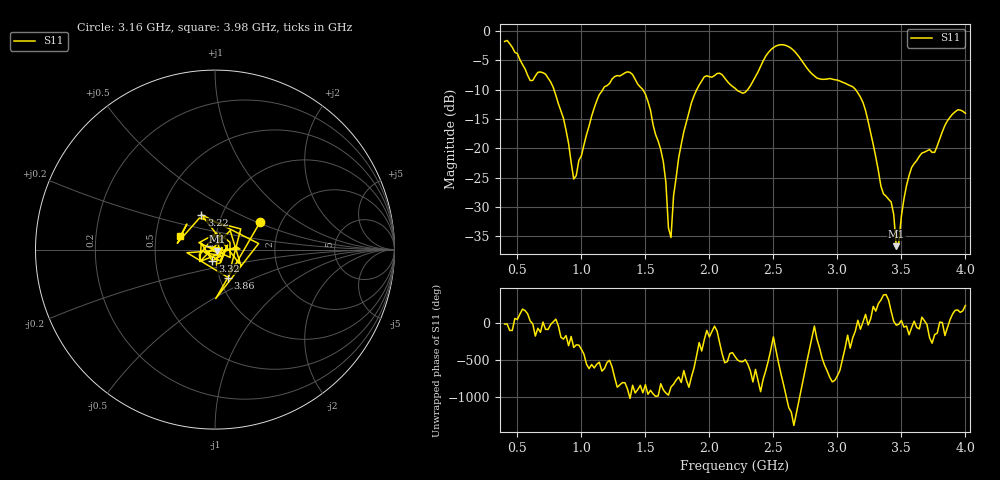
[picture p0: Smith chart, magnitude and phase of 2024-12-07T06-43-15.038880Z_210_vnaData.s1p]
!Created with skrf (http://scikit-rf.org).
# Hz S RI R 50.0
!freq ReS11 ImS11
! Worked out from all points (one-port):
!   181 points, 400 MHz to 4 GHz, reference 50 ohm
!   lowest |S11| = -36.7 dB at 3.46 GHz (marker M1), VSWR 1.03, Z = 51.2 - j0.857 ohm
!   |S11| at or under -10 dB: 785.7 MHz to 1.167 GHz (381.4 MHz wide, 39.1 % of centre); 1.481 GHz to 1.901 GHz (420.7 MHz wide, 24.9 % of centre); 3.142 GHz to end of sweep (the widest 3 of 4)
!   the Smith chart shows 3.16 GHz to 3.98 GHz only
!   S11 on the Smith chart (normalised r, x): 3.16 GHz: 1.56, +0.53; 3.22 GHz: 0.80, +0.33; 3.32 GHz: 0.96, -0.12; 3.86 GHz: 1.10, -0.35; 3.98 GHz: 0.67, +0.10
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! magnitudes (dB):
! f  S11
! 400 MHz  -1.8
! 600 MHz  -8.4
! 720 MHz  -7.4
! 860 MHz  -14.9
! 940 MHz  -25.2
! 1.14 GHz  -10.8
! 1.3 GHz  -7.7
! 1.52 GHz  -12.0
! 1.64 GHz  -22.3
! 1.68 GHz  -33.6
! 1.7 GHz  -35.2
! 1.72 GHz  -28.1
! 1.76 GHz  -21.6
! 1.96 GHz  -7.8
! 2.2 GHz  -9.8
! 2.28 GHz  -10.5
! 2.5 GHz  -2.8
! 2.66 GHz  -3.4
! 3.1 GHz  -9.3
! 3.16 GHz  -10.6
! 3.22 GHz  -13.6
! 3.32 GHz  -23.8
! 3.42 GHz  -29.1
! 3.46 GHz  -36.7
! 3.56 GHz  -24.6
! 3.86 GHz  -15.3
! 3.98 GHz  -13.7
! 4 GHz  -14.0
